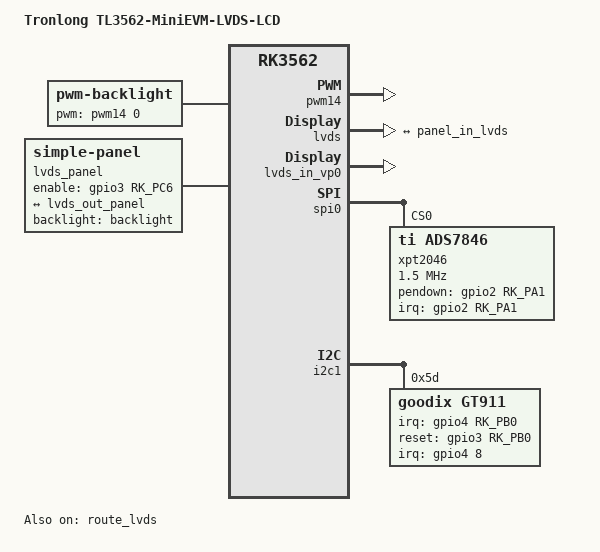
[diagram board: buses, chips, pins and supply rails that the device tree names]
/dts-v1/;

#include "rk3562-tl3562-minievm.dts"
#include <dt-bindings/display/media-bus-format.h>

/ {
	model = "Tronlong TL3562-MiniEVM-LVDS-LCD";

	backlight: backlight {
		compatible = "pwm-backlight";
		pwms = <&pwm14 0 25000 0>;
		brightness-levels = <
			  0  20  20  21  21  22  22  23
			 23  24  24  25  25  26  26  27
			 27  28  28  29  29  30  30  31
			 31  32  32  33  33  34  34  35
			 35  36  36  37  37  38  38  39
			 40  41  42  43  44  45  46  47
			 48  49  50  51  52  53  54  55
			 56  57  58  59  60  61  62  63
			 64  65  66  67  68  69  70  71
			 72  73  74  75  76  77  78  79
			 80  81  82  83  84  85  86  87
			 88  89  90  91  92  93  94  95
			 96  97  98  99 100 101 102 103
			104 105 106 107 108 109 110 111
			112 113 114 115 116 117 118 119
			120 121 122 123 124 125 126 127
			128 129 130 131 132 133 134 135
			136 137 138 139 140 141 142 143
			144 145 146 147 148 149 150 151
			152 153 154 155 156 157 158 159
			160 161 162 163 164 165 166 167
			168 169 170 171 172 173 174 175
			176 177 178 179 180 181 182 183
			184 185 186 187 188 189 190 191
			192 193 194 195 196 197 198 199
			200 201 202 203 204 205 206 207
			208 209 210 211 212 213 214 215
			216 217 218 219 220 221 222 223
			224 225 226 227 228 229 230 231
			232 233 234 235 236 237 238 239
			240 241 242 243 244 245 246 247
			248 249 250 251 252 253 254 255
		>;
		default-brightness-level = <200>;
	};

	lvds_panel: lvds-panel {
		status = "okay";
		compatible = "simple-panel";
		backlight = <&backlight>;
		reset-delay-ms = <60>;
		enable-delay-ms = <60>;
		prepare-delay-ms = <60>;
		unprepare-delay-ms = <60>;
		disable-delay-ms = <60>;
		bus-format = <MEDIA_BUS_FMT_RGB888_1X7X4_SPWG>;

		enable-gpios = <&gpio3 RK_PC6 GPIO_ACTIVE_HIGH>;

		width-mm = <210>;
		height-mm = <157>;

		display-timings {
			native-mode = <&lvds_timing0>;
			lvds_timing0: lvds-timing0 {
				clock-frequency = <66000000>;
				hactive = <1024>;
				vactive = <768>;
				hback-porch = <160>;
				hfront-porch = <160>;
				hsync-len = <2>;
				vback-porch = <19>;
				vfront-porch = <19>;
				vsync-len = <2>;
				hsync-active = <1>;
				vsync-active = <1>;
				de-active = <1>;
				pixelclk-active = <0>;
			};
		};

		ports {
			#address-cells = <1>;
			#size-cells = <0>;

			port@0 {
				reg = <0>;
				panel_in_lvds: endpoint {
					remote-endpoint = <&lvds_out_panel>;
				};
			};
		};
	};
};

&pwm14 {
	status = "okay";
};

&dsi {
	status = "disabled";
};

&dsi_in_vp0 {
	status = "disabled";
};

&dsi_panel {
	status = "disabled";
};

&route_dsi {
	status = "disabled";
};

&lvds {
	status = "okay";
	ports {
		port@1 {
			reg = <1>;

			lvds_out_panel: endpoint {
				remote-endpoint = <&panel_in_lvds>;
			};
		};
	};
};

&lvds_in_vp0 {
	status = "okay";
};

&route_lvds {
	status = "okay";
};

&spi0 {
	xpt2046@0 {
		status = "okay";
		pinctrl-names = "default";
		pinctrl-0 = <&xpt2046_int_pin>;
		reg = <0>;
		compatible = "ti,ads7846";
		interrupt-parent = <&gpio2>;
		interrupts = <RK_PA1 0>;
		spi-max-frequency = <1500000>;
		pendown-gpio = <&gpio2 RK_PA1 0>;
		ti,x-min = /bits/ 16 <0>;
		ti,x-max = /bits/ 16 <0xfff>;
		ti,y-min = /bits/ 16 <0>;
		ti,y-max = /bits/ 16 <0xfff>;
		ti,x-plate-ohms = /bits/ 16 <180>;
		ti,pressure-max = /bits/ 16 <512>;
		ti,debounce-max = /bits/ 16 <10>;
		ti,debounce-tol = /bits/ 16 <30>;
		ti,debounce-rep = /bits/ 16 <1>;
		ti,settle-delay-usec = /bits/ 16 <150>;
		ti,keep-vref-on = <1>;
		/delete-property/ linux,wakeup;
		/delete-property/ wakeup-source;
	};
};

&i2c1 {
	gt911@5d {
		compatible = "goodix,gt911";
		reg = <0x5d>;
		pinctrl-names = "default";
		pinctrl-0 = <&gt911_int>;
		interrupt-parent = <&gpio4>;
		interrupts = <8 0>;
		irq-gpios = <&gpio4 RK_PB0 0>;
		reset-gpios = <&gpio3 RK_PB0 0>;
		touchscreen-inverted-x;
		touchscreen-inverted-y;
	};
};

&pinctrl {
	lvds_panel {
		xpt2046_int_pin: xpt2046-int-pin {
			rockchip,pins = <2 RK_PA1 RK_FUNC_GPIO &pcfg_pull_none>;
		};

		gt911_int: gt911-int {
			rockchip,pins = <4 RK_PB0 RK_FUNC_GPIO &pcfg_pull_none>;
		};
	};
};
